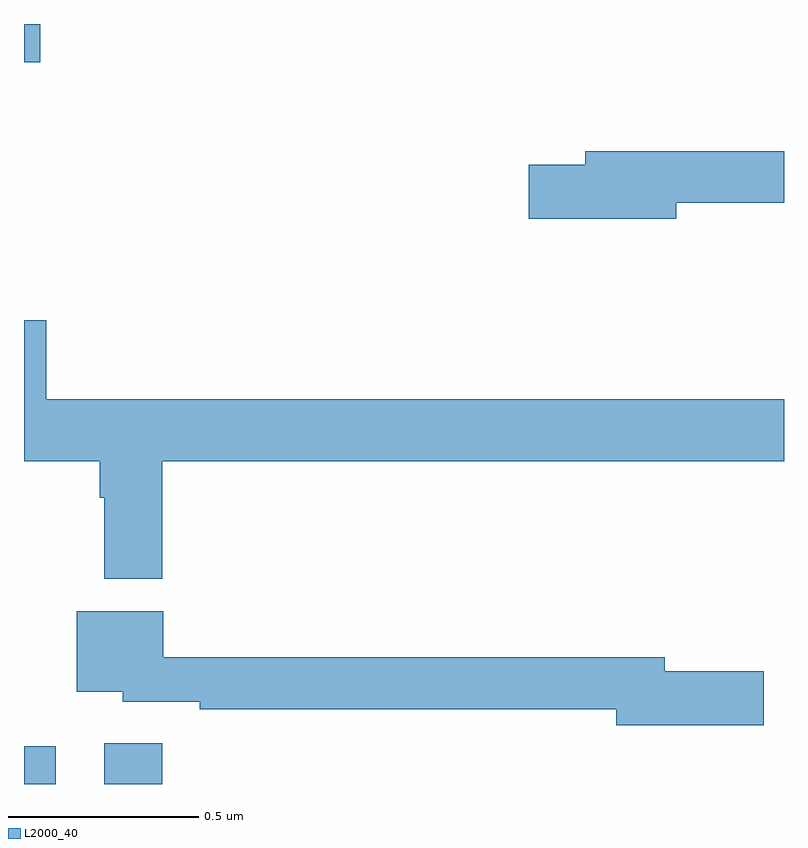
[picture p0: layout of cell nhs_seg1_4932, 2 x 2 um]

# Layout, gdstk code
import gdstk
lib = gdstk.Library(unit=1e-6, precision=1e-09)
def R(c, l, rs):  # rectangles x0, y0, x1, y1
    for r in rs: c.add(gdstk.rectangle(r[:2], r[2:], *l))
def P(c, l, *ps):  # polygons
    for p in ps: c.add(gdstk.Polygon(p, *l))
L2000_40 = (2000, 40)

nhs_seg1_4932 = lib.new_cell('nhs_seg1_4932')
R(nhs_seg1_4932, L2000_40, [(172,568.199,172.084,568.299), (172.211,568.199,172.364,568.306), (172,570.099,172.043,570.199)])
P(nhs_seg1_4932, L2000_40, [(173.716,569.728),(174,569.728),(174,569.864),(173.477,569.864),(173.477,569.828),(173.328,569.828),(173.328,569.686),(173.716,569.686)],
  [(172.058,569.419),(172,569.419),(172,569.048),(172.199,569.048),(172.199,568.952),(172.211,568.952),(172.211,568.739),(172.364,568.739),(172.364,569.048),(174,569.048),(174,569.212),(172.058,569.212)],
  [(173.947,568.496),(173.686,568.496),(173.686,568.532),(172.366,568.532),(172.366,568.654),(172.139,568.654),(172.139,568.442),(172.26,568.442),(172.26,568.416),(172.462,568.416),(172.462,568.396),(173.558,568.396),(173.558,568.354),(173.947,568.354)])

lib.write_gds('nhs_seg1_4932.gds')
